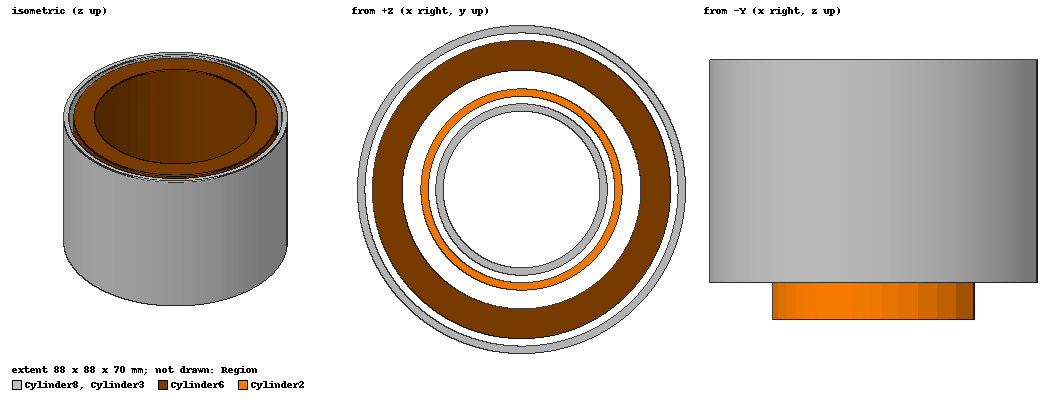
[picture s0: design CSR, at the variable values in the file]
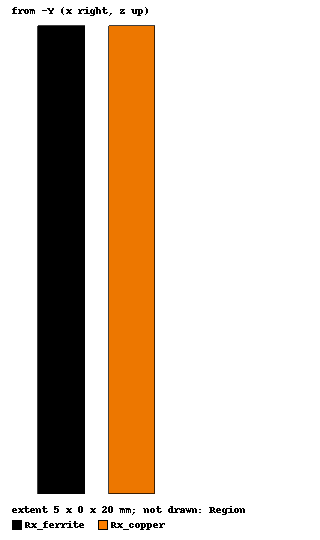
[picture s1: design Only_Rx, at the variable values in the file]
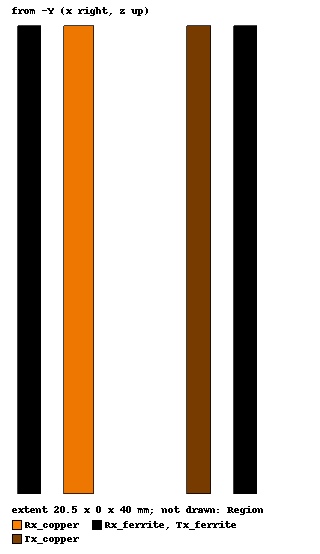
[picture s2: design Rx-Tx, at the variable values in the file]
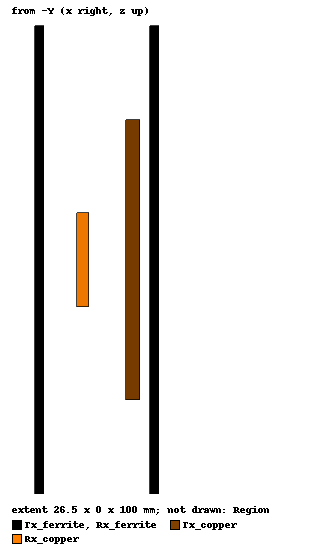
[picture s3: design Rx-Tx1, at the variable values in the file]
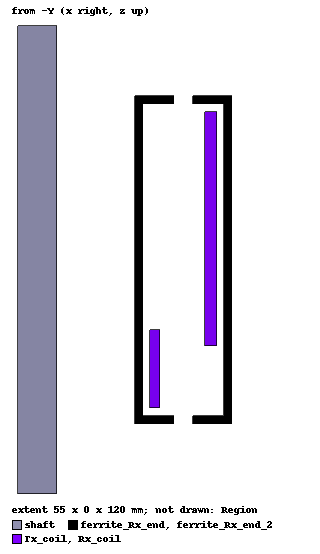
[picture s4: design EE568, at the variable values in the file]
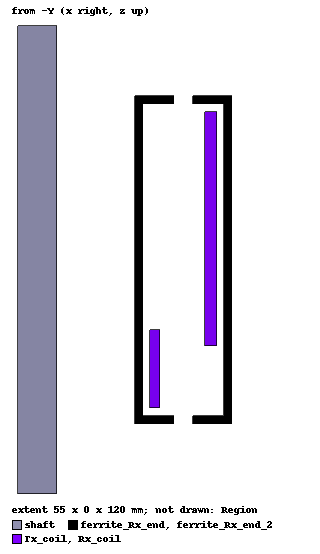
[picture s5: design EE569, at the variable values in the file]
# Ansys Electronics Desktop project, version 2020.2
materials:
  vacuum: permittivity=1
  copper: permeability=0.999991 conductivity=58000000
  ferrite: permittivity=12 permeability=1000 conductivity=0.01
  steel_1008: permeability{HUnit=A_per_meter BUnit=tesla curve } conductivity=2000000
  iron: permeability=4000 conductivity=10300000

design CSR (Maxwell 3D, Magnetostatic, model units mm)
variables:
  zrx_copper = 0
  yrx_copper = 0
  xrx_copper = 0
  r_rx_copper = 25mm
  copper_height = 2mm
  copper_width = 2mm
  rx_layer = 1
  N_rx = 7
  air_rx_ferrite = 2mm
  ferrite_height = 15mm
  ferrite_width = 2mm
  misalingnment = 10mm
  airgap = 5mm
  N_tx = 30
  tx_layer = 4
  air_tx_ferrite = 2mm
  ferrite_height_Tx = 60mm
  Rx_current = 15A
  Tx_current = 3A
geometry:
  coordinate_system Rx-copper = origin=(xrx_copper, yrx_copper, zrx_copper) x=(1mm, 0mm, 0mm) y=(0mm, 1mm, 0mm)
  Cylinder1 = cylinder(axis=Z, base_centre=(0mm, 0mm, 0mm), radius=r_rx_copper, height=copper_height*N_rx) in Rx-copper
  Cylinder2 [copper] = cylinder(axis=Z, base_centre=(0mm, 0mm, 0mm), radius=r_rx_copper+ (copper_width* rx_layer), height=copper_height*N_rx) in Rx-copper
  Cylinder2.subtract(Cylinder1)
  Rx_section = Cylinder2.section(plane=YZ) in Rx-copper
  Rx_section.separate_bodies()
  Cylinder3 [ferrite] = cylinder(axis=Z, base_centre=(0mm, 0mm, 0mm), radius=r_rx_copper-air_rx_ferrite, height=ferrite_height) in Rx-copper
  Cylinder4 = cylinder(axis=Z, base_centre=(0mm, 0mm, 0mm), radius=r_rx_copper-air_rx_ferrite-ferrite_width, height=ferrite_height) in Rx-copper
  Cylinder3.subtract(Cylinder4)
  coordinate_system Tx-copper = origin=(0mm, 0mm, misalingnment) x=(1mm, 0mm, 0mm) y=(0mm, 1mm, 0mm) in Rx-copper
  Cylinder5 = cylinder(axis=Z, base_centre=(0mm, 0mm, 0mm), radius=r_rx_copper+ (copper_width* rx_layer)+airgap, height=copper_height*N_tx) in Tx-copper
  Cylinder6 [copper] = cylinder(axis=Z, base_centre=(0mm, 0mm, 0mm), radius=r_rx_copper+ (copper_width* rx_layer)+airgap+(tx_layer*copper_width), height=N_tx*copper_height) in Tx-copper
  Cylinder6.subtract(Cylinder5)
  Tx_section = Cylinder6.section(plane=YZ) in Tx-copper
  Tx_section.separate_bodies()
  Cylinder7 = cylinder(axis=Z, base_centre=(0mm, 0mm, 0mm), radius=r_rx_copper+ (copper_width* rx_layer)+airgap+(tx_layer*copper_width)+air_tx_ferrite, height=ferrite_height_Tx) in Tx-copper
  Cylinder8 [ferrite] = cylinder(axis=Z, base_centre=(0mm, 0mm, 0mm), radius=r_rx_copper+ (copper_width* rx_layer)+airgap+(tx_layer*copper_width)+air_tx_ferrite+ferrite_width, height=ferrite_height_Tx) in Tx-copper
  Cylinder8.subtract(Cylinder7)
  Region [vacuum] = region(percentage_offset=100 on all sides) in Tx-copper
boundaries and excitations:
  Insulating1: Insulating Objects=Cylinder2
  Insulating2: Insulating Faces=Cylinder6.face(3 of 3)
  Current1: Current Objects=Rx_section Current=Rx_current IsSolid=false Point_out_of_terminal=false
  Current2: Current Objects=Tx_section Current=Tx_current IsSolid=false Point_out_of_terminal=false
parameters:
  Inductance_matrix: Matrix Current1: NumberOfTurns=N_rx*rx_layer; Current2: NumberOfTurns=N_tx*tx_layer
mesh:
  Length1: LengthBased Objects=[Cylinder2, Rx_section, Cylinder3, Cylinder6, Tx_section, Cylinder8, Region] MaxLength=10mm
  initial mesh: GlobalCurvilinear{Apply}
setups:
  Setup1: Magnetostatic MaximumPasses=10 MinimumPasses=2 MinimumConvergedPasses=1 PercentRefinement=30 PercentError=1 NonLinearResidual=0.001
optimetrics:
  ParametricSetup1: Parametric Sim._Setups=[Setup1]
    sweep misalingnment: LIN 0mm 10mm 2mm

design Only_Rx (Maxwell 2D, Magnetostatic, about Z geometry, model units mm)
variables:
  Rx_startX = 20mm
  Rx_width = 2mm
  Rx_height = 20mm
  ferrite_Rx_startX = 17mm
  ferrite_Rx_width = 2mm
  ferrite_Rx_height = 20mm
  Rx_current = 5A
  N_rx = 8
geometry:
  Rx_copper [copper] = rectangle(corner=(Rx_startX, 0mm, 0mm), z_size=Rx_height, x_size=Rx_width)
  Rx_ferrite [ferrite] = rectangle(corner=(ferrite_Rx_startX, 0mm, 0mm), z_size=ferrite_Rx_height, x_size=ferrite_Rx_width)
  Region [vacuum] = region(percentage_offset: +X=200, -X=200, +Y=0, -Y=0, +Z=200, -Z=200)
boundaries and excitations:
  Balloon1: Balloon Edges=Region.edge(all 4)
  Current1: Current Objects=Rx_copper Current=Rx_current IsPositive=true
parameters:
  Matrix1: Matrix Current1: NumberOfTurns=N_rx
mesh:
  initial mesh: MeshMethod=AnsoftTAU
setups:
  OnlyRx: Magnetostatic MaximumPasses=10 MinimumPasses=2 MinimumConvergedPasses=1 PercentRefinement=30 PercentError=1 NonLinearResidual=0.0001

design Rx-Tx (Maxwell 2D, Magnetostatic, about Z geometry, model units mm)
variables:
  Rx_startX = 20mm
  Rx_width = 2.5mm
  Rx_height = 40mm
  ferrite_Rx_startX = Rx_startX-ferrite_Rx_width-ferrite_Rx_width
  ferrite_Rx_width = 2mm
  ferrite_Rx_height = 40mm
  Rx_current = 40A
  Tx_startX = Rx_startX+Rx_width+airgap
  Tx_width = 2mm
  Tx_height = 40mm
  ferrite_Tx_startX = Tx_startX+Tx_width+gapTxFerrite
  ferrite_Tx_width = 2mm
  ferrite_Tx_height = 40mm
  misal = 0mm
  airgap = 8mm
  gapTxFerrite = 2mm
  gapRxFerrite = 2mm
  Tx_current = 200A
  ferrite_Tx_startZ = 0mm
  N_rx = 8
  Nrx = 8
  N_tx = 100
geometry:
  Rx_copper [copper] = rectangle(corner=(Rx_startX, 0mm, 0mm), z_size=Rx_height, x_size=Rx_width)
  Rx_ferrite [ferrite] = rectangle(corner=(ferrite_Rx_startX, 0mm, 0mm), z_size=ferrite_Rx_height, x_size=ferrite_Rx_width)
  Tx_copper [copper] = rectangle(corner=(Tx_startX, 0mm, misal), z_size=Tx_height, x_size=Tx_width)
  Tx_ferrite [ferrite] = rectangle(corner=(ferrite_Tx_startX, 0mm, misal+ferrite_Tx_startZ), z_size=ferrite_Tx_height, x_size=ferrite_Tx_width)
  Region [vacuum] = region(percentage_offset: +X=200, -X=200, +Y=0, -Y=0, +Z=200, -Z=200)
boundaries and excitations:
  Balloon1: Balloon Edges=Region.edge(all 4)
  Current1: Current Objects=Rx_copper Current=Rx_current IsPositive=true
  Current2: Current Objects=Tx_copper Current=Tx_current IsPositive=false
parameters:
  Matrix1: Matrix Current1: NumberOfTurns=N_rx; Current2: NumberOfTurns=N_tx
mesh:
  initial mesh: MeshMethod=AnsoftTAU
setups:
  TxRx: Magnetostatic MaximumPasses=10 MinimumPasses=2 MinimumConvergedPasses=1 PercentRefinement=30 PercentError=1 NonLinearResidual=0.0001
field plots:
  B_Vector1: B over Rx_copper, Rx_ferrite, Region, Tx_copper, Tx_ferrite on TxRx : LastAdaptive

design Rx-Tx1 (Maxwell 2D, Magnetostatic, about Z geometry, model units mm)
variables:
  Rx_startX = 30mm
  Rx_width = 2.5mm
  Rx_height = 20mm
  ferrite_Rx_startX = Rx_startX-ferrite_Rx_width-ferrite_Rx_width-gapRxFerrite
  ferrite_Rx_width = 2mm
  ferrite_Rx_height = 100mm
  Rx_current = 40A
  Tx_startX = Rx_startX+Rx_width+airgap
  Tx_width = 3mm
  Tx_height = 60mm
  ferrite_Tx_startX = Tx_startX+Tx_width+gapTxFerrite
  ferrite_Tx_width = 2mm
  ferrite_Tx_height = 100mm
  misal = -20mm
  airgap = 8mm
  gapTxFerrite = 2mm
  gapRxFerrite = 5mm
  Tx_current = 200A
  ferrite_Tx_startZ = -40mm
  Rx_startZ = 0
  ferrite_Rx_startZ = -40mm
  N_rx = 5
  Nrx = 8
  N_tx = 92
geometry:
  Rx_copper [copper] = rectangle(corner=(Rx_startX, 0mm, Rx_startZ), z_size=Rx_height, x_size=Rx_width)
  Rx_ferrite [ferrite] = rectangle(corner=(ferrite_Rx_startX, 0mm, ferrite_Rx_startZ), z_size=ferrite_Rx_height, x_size=ferrite_Rx_width)
  Tx_copper [copper] = rectangle(corner=(Tx_startX, 0mm, misal), z_size=Tx_height, x_size=Tx_width)
  Tx_ferrite [ferrite] = rectangle(corner=(ferrite_Tx_startX, 0mm, ferrite_Tx_startZ), z_size=ferrite_Tx_height, x_size=ferrite_Tx_width)
  Region [vacuum] = region(percentage_offset: +X=200, -X=200, +Y=0, -Y=0, +Z=200, -Z=200)
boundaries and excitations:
  Balloon1: Balloon Edges=Region.edge(all 4)
  Current1: Current Objects=Rx_copper Current=Rx_current IsPositive=true
  Current2: Current Objects=Tx_copper Current=Tx_current IsPositive=false
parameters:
  Matrix1: Matrix Current1: NumberOfTurns=N_rx; Current2: NumberOfTurns=N_tx
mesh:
  initial mesh: MeshMethod=AnsoftTAU
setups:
  TxRx: Magnetostatic MaximumPasses=10 MinimumPasses=2 MinimumConvergedPasses=1 PercentRefinement=30 PercentError=1 NonLinearResidual=0.0001
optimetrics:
  ParametricSetup1: Parametric Sim._Setups=[TxRx]
    sweep airgap: LIN 8mm 14mm 2mm

design EE568 (Maxwell 2D, EddyCurrent, about Z geometry, model units mm)
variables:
  shaft_radius = 10mm
  shaft_length = 120mm
  s2f = 20mm
  ferrite_width = 2mm
  ferrite_length = 80mm
  ferrite_end_length = 10mm
  ferrite_end_width = 2mm
  f2Rx = 2mm
  Rx_width = 2.5mm
  Rx_length = 20mm
  airgap = 5mm
  Tx_width = 3mm
  Tx_length = 60mm
  f2Tx = 2mm
  misalignment = 8mm
  I_Rx = 90A
  Itx = 200A
  misalignmentRx = 28mm
  Ns = 5
  Np = 90
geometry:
  shaft [iron] = rectangle(corner=(0mm, 0mm, -shaft_length/2), z_size=shaft_length, x_size=shaft_radius)
  ferrite_Rx = rectangle(corner=(shaft_radius+s2f, 0mm, -ferrite_length/2), z_size=ferrite_length, x_size=ferrite_width)
  ferrite_Rx_end [ferrite] = rectangle(corner=(shaft_radius+s2f, 0mm, ferrite_length/2), z_size=ferrite_end_width, x_size=ferrite_end_length)
  ferrite_Rx_end_1 = ferrite_Rx_end.duplicate_mirror(point=(shaft_radius+s2f, 0mm, 0mm), normal=(0mm, 0mm, -1mm))
  ferrite_Rx_end.unite(ferrite_Rx, ferrite_Rx_end_1)
  Rx_coil [copper] = rectangle(corner=(shaft_radius+s2f+ferrite_width+f2Rx, 0mm, -Rx_length/2-misalignmentRx), z_size=Rx_length, x_size=Rx_width)
  ferrite_Rx_end_2 [ferrite] = ferrite_Rx_end.duplicate_mirror(point=(shaft_radius+s2f+ferrite_end_length+(airgap/2), 0mm, 0mm), normal=(1mm, 0mm, 0mm))
  Tx_coil [copper] = rectangle(corner=(shaft_radius+s2f+ferrite_end_length+airgap+ferrite_end_length-ferrite_width-f2Tx-Tx_width, 0mm, -Tx_length/2+misalignment), z_size=Tx_length, x_size=Tx_width)
  Region [vacuum] = region(percentage_offset: +X=100, -X=100, +Y=0, -Y=0, +Z=100, -Z=100)
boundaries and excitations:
  Balloon1: Balloon Edges=Region.edge(all 4)
  Current1: Current Objects=Rx_coil Phase=0deg Current=I_Rx IsSolid=true IsPositive=true
  Current2: Current Objects=Tx_coil Phase=0deg Current=Itx IsSolid=true IsPositive=true
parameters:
  Matrix1: Matrix Current1, Current2:
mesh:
  initial mesh: MeshMethod=AnsoftTAU
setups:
  Setup1: EddyCurrent MaximumPasses=10 MinimumPasses=2 MinimumConvergedPasses=1 PercentRefinement=30 PercentError=1 ConstantDelta=0s NonLinearResidual=0.0001 Frequency=80kHz
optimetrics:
  ParametricSetup1: Parametric
    sweep misalignmentRx: LIN 0mm 30mm 5mm
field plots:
  B_Vector1: B over shaft, ferrite_Rx_end, Rx_coil, ferrite_Rx_end_2, Tx_coil on Setup1 : LastAdaptive at Freq=80kHz Phase=0deg

design EE569 (Maxwell 2D, Magnetostatic, about Z geometry, model units mm)
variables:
  shaft_radius = 10mm
  shaft_length = 120mm
  s2f = 20mm
  ferrite_width = 2mm
  ferrite_length = 80mm
  ferrite_end_length = 10mm
  ferrite_end_width = 2mm
  f2Rx = 2mm
  Rx_width = 2.5mm
  Rx_length = 20mm
  airgap = 5mm
  Tx_width = 3mm
  Tx_length = 60mm
  f2Tx = 2mm
  misalignment = 8mm
  I_Rx = 90A
  Itx = 200A
  misalignmentRx = 28mm
  Ns = 5
  Np = 90
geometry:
  shaft [iron] = rectangle(corner=(0mm, 0mm, -shaft_length/2), z_size=shaft_length, x_size=shaft_radius)
  ferrite_Rx = rectangle(corner=(shaft_radius+s2f, 0mm, -ferrite_length/2), z_size=ferrite_length, x_size=ferrite_width)
  ferrite_Rx_end [ferrite] = rectangle(corner=(shaft_radius+s2f, 0mm, ferrite_length/2), z_size=ferrite_end_width, x_size=ferrite_end_length)
  ferrite_Rx_end_1 = ferrite_Rx_end.duplicate_mirror(point=(shaft_radius+s2f, 0mm, 0mm), normal=(0mm, 0mm, -1mm))
  ferrite_Rx_end.unite(ferrite_Rx, ferrite_Rx_end_1)
  Rx_coil [copper] = rectangle(corner=(shaft_radius+s2f+ferrite_width+f2Rx, 0mm, -Rx_length/2-misalignmentRx), z_size=Rx_length, x_size=Rx_width)
  ferrite_Rx_end_2 [ferrite] = ferrite_Rx_end.duplicate_mirror(point=(shaft_radius+s2f+ferrite_end_length+(airgap/2), 0mm, 0mm), normal=(1mm, 0mm, 0mm))
  Tx_coil [copper] = rectangle(corner=(shaft_radius+s2f+ferrite_end_length+airgap+ferrite_end_length-ferrite_width-f2Tx-Tx_width, 0mm, -Tx_length/2+misalignment), z_size=Tx_length, x_size=Tx_width)
  Region [vacuum] = region(percentage_offset: +X=100, -X=100, +Y=0, -Y=0, +Z=100, -Z=100)
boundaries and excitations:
  Balloon1: Balloon Edges=Region.edge(all 4)
  Current1: Current Objects=Rx_coil Current=I_Rx IsPositive=true
  Current2: Current Objects=Tx_coil Current=Itx IsPositive=true
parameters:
  Matrix1: Matrix Current1, Current2: NumberOfTurns=1
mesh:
  initial mesh: MeshMethod=AnsoftTAU
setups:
  Setup1: Magnetostatic MaximumPasses=10 MinimumPasses=2 MinimumConvergedPasses=1 PercentRefinement=30 PercentError=1 ConstantDelta=0s NonLinearResidual=0.0001
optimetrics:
  ParametricSetup1: Parametric
    sweep misalignmentRx: LIN 0mm 30mm 5mm
